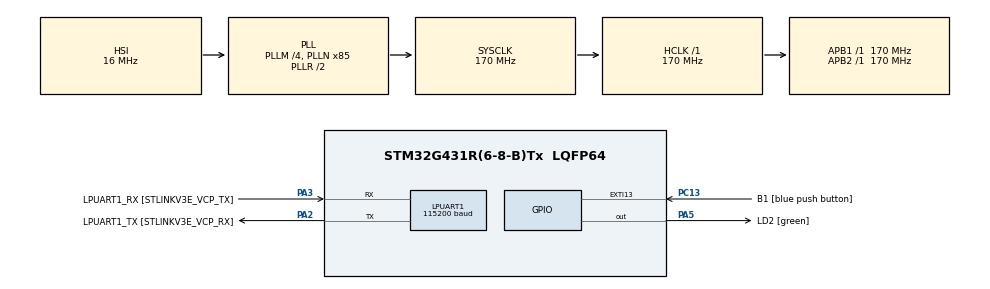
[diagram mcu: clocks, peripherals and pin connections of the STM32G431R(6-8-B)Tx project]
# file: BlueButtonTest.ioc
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FREERTOS.Mutexes01=ErrorMutex,Dynamic,NULL
FREERTOS.Queues01=myQueue01,3,uint16_t,0,Dynamic,NULL,NULL
FREERTOS.Tasks01=defaultTask,24,128,StartDefaultTask,Default,NULL,Dynamic,NULL,NULL;errorTask,8,128,StartTaskError,Default,NULL,Dynamic,NULL,NULL
FREERTOS.Timers01=BlueTimer,BlueCallback,osTimerPeriodic,Default,NULL,Dynamic,NULL
FREERTOS.configUSE_NEWLIB_REENTRANT=1
LPUART1.BaudRate=115200
LPUART1.WordLength=UART_WORDLENGTH_8B
Mcu.Family=STM32G4
Mcu.Name=STM32G431R(6-8-B)Tx
Mcu.Package=LQFP64
NVIC.EXTI15_10_IRQn=true\:5\:0\:false\:false\:true\:true\:true\:true
NVIC.PriorityGroup=NVIC_PRIORITYGROUP_4
NVIC.TIM6_DAC_IRQn=true\:15\:0\:false\:false\:true\:false\:false\:true
NVIC.TimeBase=TIM6_DAC_IRQn
NVIC.TimeBaseIP=TIM6
PA13.GPIO_Label=T_SWDIO
PA13.Mode=Serial_Wire
PA13.Signal=SYS_JTMS-SWDIO
PA14.GPIO_Label=T_SWCLK
PA14.Mode=Serial_Wire
PA14.Signal=SYS_JTCK-SWCLK
PA2.GPIO_Label=LPUART1_TX [STLINKV3E_VCP_RX]
PA2.Mode=Asynchronous
PA2.Signal=LPUART1_TX
PA3.GPIO_Label=LPUART1_RX [STLINKV3E_VCP_TX]
PA3.Mode=Asynchronous
PA3.Signal=LPUART1_RX
PA5.GPIO_Label=LD2 [green]
PA5.Signal=GPIO_Output
PB3.GPIO_Label=T_SWO
PB3.Signal=SYS_JTDO-SWO
PC13.GPIO_Label=B1 [blue push button]
PC13.GPIO_ModeDefaultEXTI=GPIO_MODE_IT_RISING_FALLING
PC13.Signal=GPXTI13
PC14-OSC32_IN.Mode=LSE-External-Oscillator
PC14-OSC32_IN.Signal=RCC_OSC32_IN
PC15-OSC32_OUT.Mode=LSE-External-Oscillator
PC15-OSC32_OUT.Signal=RCC_OSC32_OUT
PF0-OSC_IN.Mode=HSE-External-Oscillator
PF0-OSC_IN.Signal=RCC_OSC_IN
PF1-OSC_OUT.Mode=HSE-External-Oscillator
PF1-OSC_OUT.Signal=RCC_OSC_OUT
ProjectManager.HeapSize=0x200
ProjectManager.StackSize=0x400
ProjectManager.TargetToolchain=STM32CubeIDE
RCC.ADC12Freq_Value=170000000
RCC.AHBFreq_Value=170000000
RCC.APB1Freq_Value=170000000
RCC.APB1TimFreq_Value=170000000
RCC.APB2Freq_Value=170000000
RCC.APB2TimFreq_Value=170000000
RCC.CortexFreq_Value=170000000
RCC.EXTERNAL_CLOCK_VALUE=12288000
RCC.HCLKFreq_Value=170000000
RCC.HSE_VALUE=24000000
RCC.HSI48_VALUE=48000000
RCC.HSI_VALUE=16000000
RCC.PLLM=RCC_PLLM_DIV4
RCC.PLLN=85
RCC.RTCClockSelection=RCC_RTCCLKSOURCE_LSE
RCC.SYSCLKFreq_VALUE=170000000
RCC.SYSCLKSource=RCC_SYSCLKSOURCE_PLLCLK
RCC.USBFreq_Value=170000000
RCC.VCOOutputFreq_Value=340000000
VP_FREERTOS_VS_CMSIS_V2.Mode=CMSIS_V2
VP_SYS_VS_DBSignals.Mode=DisableDeadBatterySignals
VP_SYS_VS_tim6.Mode=TIM6
board=NUCLEO-G431RB

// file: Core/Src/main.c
/* USER CODE BEGIN Header */
/**
  ******************************************************************************
  * @file           : main.c
  * @brief          : Main program body
  ******************************************************************************
  * @attention
  *
  * <h2><center>&copy; Copyright (c) 2021 STMicroelectronics.
  * All rights reserved.</center></h2>
  *
  * This software component is licensed by ST under Ultimate Liberty license
  * SLA0044, the "License"; You may not use this file except in compliance with
  * the License. You may obtain a copy of the License at:
  *                             www.st.com/SLA0044
  *
  ******************************************************************************
  */
/* USER CODE END Header */
#include "main.h"
#include "cmsis_os.h"

/* USER CODE BEGIN Includes */
#include <string.h>
#include <stdio.h>
#include <stdlib.h>
/* USER CODE END Includes */

UART_HandleTypeDef hlpuart1;

/* Definitions for defaultTask */
osThreadId_t defaultTaskHandle;
const osThreadAttr_t defaultTask_attributes = {
  .name = "defaultTask",
  .priority = (osPriority_t) osPriorityNormal,
  .stack_size = 128 * 4
};
/* Definitions for errorTask */
osThreadId_t errorTaskHandle;
const osThreadAttr_t errorTask_attributes = {
  .name = "errorTask",
  .priority = (osPriority_t) osPriorityLow,
  .stack_size = 128 * 4
};
/* Definitions for myQueue01 */
osMessageQueueId_t myQueue01Handle;
const osMessageQueueAttr_t myQueue01_attributes = {
  .name = "myQueue01"
};
/* Definitions for BlueTimer */
osTimerId_t BlueTimerHandle;
const osTimerAttr_t BlueTimer_attributes = {
  .name = "BlueTimer"
};
/* Definitions for ErrorMutex */
osMutexId_t ErrorMutexHandle;
const osMutexAttr_t ErrorMutex_attributes = {
  .name = "ErrorMutex"
};

void SystemClock_Config(void);
static void MX_GPIO_Init(void);
static void MX_LPUART1_UART_Init(void);
void StartDefaultTask(void *argument);
void StartTaskError(void *argument);
void BlueCallback(void *argument);

/* USER CODE BEGIN 0 */
uint8_t blue_button_pressed = 0;
uint32_t blue_tick_pressed = 0;

const unsigned char OUT_BUFFER_COUNT = 3;
char main_out_buffer[3][512];

unsigned char out_write_index=0;

void move_out_next_write_index(){
	out_write_index++;
	if (out_write_index == OUT_BUFFER_COUNT){
		out_write_index = 0;
	}
}

uint8_t error_flag = 0;

void put_message_out_buffer(char *message){
	uint32_t ret = osMessageQueueGetSpace(myQueue01Handle);
	if (ret ==0){
		osMutexAcquire(ErrorMutexHandle, osWaitForever);
		error_flag = 1;
		osMutexRelease(ErrorMutexHandle);
		return;
	}

	char *p = main_out_buffer[out_write_index];
	int msg_len = strlen(message);
	memcpy(p, message, msg_len);
	char tmp[25];
	itoa(out_write_index, tmp, 10);
	int value_len = strlen(tmp);
	char *value_p = p + msg_len;
	memcpy(value_p, tmp, value_len);
	p[msg_len + value_len] = 0x00;
	uint8_t pos = out_write_index;
	osMessageQueuePut(myQueue01Handle, &pos, 0U, 0U);
	move_out_next_write_index();
}

void HAL_GPIO_EXTI_Callback(uint16_t GPIO_Pin) {
	if (GPIO_Pin == B1_Pin){
		//HAL_Delay(10); //delay 10 milli-second, clear finger is trembling.

		if (HAL_GPIO_ReadPin(B1_GPIO_Port, B1_Pin) == GPIO_PIN_SET){
			put_message_out_buffer("Blue Button.");
			__HAL_GPIO_EXTI_CLEAR_IT(B1_Pin);            //清除引脚中断
			blue_button_pressed = 1;
		}
		else if (HAL_GPIO_ReadPin(B1_GPIO_Port, B1_Pin) == GPIO_PIN_RESET){
			put_message_out_buffer("Blue Button Release.");
			blue_button_pressed = 0;
		}
	}
}

char main_ouput_buf[100];
void send_reply_string(char *message){
	memset(main_ouput_buf,0,sizeof(main_ouput_buf));
	strcpy(main_ouput_buf, message);
	uint16_t send_count = strlen(main_ouput_buf);
	HAL_UART_Transmit(&hlpuart1,(uint8_t*)main_ouput_buf,send_count,0xffff);
}
/* USER CODE END 0 */

int main(void)
{

  /* MCU Configuration--------------------------------------------------------*/

  /* Reset of all peripherals, Initializes the Flash interface and the Systick. */
  HAL_Init();

  /* Configure the system clock */
  SystemClock_Config();

  /* Initialize all configured peripherals */
  MX_GPIO_Init();
  MX_LPUART1_UART_Init();

  /* Init scheduler */
  osKernelInitialize();
  /* Create the mutex(es) */
  /* creation of ErrorMutex */
  ErrorMutexHandle = osMutexNew(&ErrorMutex_attributes);

  /* Create the timer(s) */
  /* creation of BlueTimer */
  BlueTimerHandle = osTimerNew(BlueCallback, osTimerPeriodic, NULL, &BlueTimer_attributes);

  /* USER CODE BEGIN RTOS_TIMERS */
  /* start timers, add new ones, ... */
  //uint32_t timerDelay = 100U;
  //osTimerStart(BlueTimerHandle, timerDelay);
  /* USER CODE END RTOS_TIMERS */

  /* Create the queue(s) */
  /* creation of myQueue01 */
  myQueue01Handle = osMessageQueueNew (3, sizeof(uint16_t), &myQueue01_attributes);

  /* Create the thread(s) */
  /* creation of defaultTask */
  defaultTaskHandle = osThreadNew(StartDefaultTask, NULL, &defaultTask_attributes);

  /* creation of errorTask */
  errorTaskHandle = osThreadNew(StartTaskError, NULL, &errorTask_attributes);

  /* Start scheduler */
  osKernelStart();

  /* We should never get here as control is now taken by the scheduler */
  /* Infinite loop */
  while (1)
  {

  }
}

void SystemClock_Config(void)
{
  RCC_OscInitTypeDef RCC_OscInitStruct = {0};
  RCC_ClkInitTypeDef RCC_ClkInitStruct = {0};
  RCC_PeriphCLKInitTypeDef PeriphClkInit = {0};

  /** Configure the main internal regulator output voltage
  */
  HAL_PWREx_ControlVoltageScaling(PWR_REGULATOR_VOLTAGE_SCALE1_BOOST);
  /** Initializes the RCC Oscillators according to the specified parameters
  * in the RCC_OscInitTypeDef structure.
  */
  RCC_OscInitStruct.OscillatorType = RCC_OSCILLATORTYPE_HSI;
  RCC_OscInitStruct.HSIState = RCC_HSI_ON;
  RCC_OscInitStruct.HSICalibrationValue = RCC_HSICALIBRATION_DEFAULT;
  RCC_OscInitStruct.PLL.PLLState = RCC_PLL_ON;
  RCC_OscInitStruct.PLL.PLLSource = RCC_PLLSOURCE_HSI;
  RCC_OscInitStruct.PLL.PLLM = RCC_PLLM_DIV4;
  RCC_OscInitStruct.PLL.PLLN = 85;
  RCC_OscInitStruct.PLL.PLLP = RCC_PLLP_DIV2;
  RCC_OscInitStruct.PLL.PLLQ = RCC_PLLQ_DIV2;
  RCC_OscInitStruct.PLL.PLLR = RCC_PLLR_DIV2;
  if (HAL_RCC_OscConfig(&RCC_OscInitStruct) != HAL_OK)
  {
    Error_Handler();
  }
  /** Initializes the CPU, AHB and APB buses clocks
  */
  RCC_ClkInitStruct.ClockType = RCC_CLOCKTYPE_HCLK|RCC_CLOCKTYPE_SYSCLK
                              |RCC_CLOCKTYPE_PCLK1|RCC_CLOCKTYPE_PCLK2;
  RCC_ClkInitStruct.SYSCLKSource = RCC_SYSCLKSOURCE_PLLCLK;
  RCC_ClkInitStruct.AHBCLKDivider = RCC_SYSCLK_DIV1;
  RCC_ClkInitStruct.APB1CLKDivider = RCC_HCLK_DIV1;
  RCC_ClkInitStruct.APB2CLKDivider = RCC_HCLK_DIV1;

  if (HAL_RCC_ClockConfig(&RCC_ClkInitStruct, FLASH_LATENCY_4) != HAL_OK)
  {
    Error_Handler();
  }
  /** Initializes the peripherals clocks
  */
  PeriphClkInit.PeriphClockSelection = RCC_PERIPHCLK_LPUART1;
  PeriphClkInit.Lpuart1ClockSelection = RCC_LPUART1CLKSOURCE_PCLK1;
  if (HAL_RCCEx_PeriphCLKConfig(&PeriphClkInit) != HAL_OK)
  {
    Error_Handler();
  }
}

static void MX_LPUART1_UART_Init(void)
{

  hlpuart1.Instance = LPUART1;
  hlpuart1.Init.BaudRate = 115200;
  hlpuart1.Init.WordLength = UART_WORDLENGTH_8B;
  hlpuart1.Init.StopBits = UART_STOPBITS_1;
  hlpuart1.Init.Parity = UART_PARITY_NONE;
  hlpuart1.Init.Mode = UART_MODE_TX_RX;
  hlpuart1.Init.HwFlowCtl = UART_HWCONTROL_NONE;
  hlpuart1.Init.OneBitSampling = UART_ONE_BIT_SAMPLE_DISABLE;
  hlpuart1.Init.ClockPrescaler = UART_PRESCALER_DIV1;
  hlpuart1.AdvancedInit.AdvFeatureInit = UART_ADVFEATURE_NO_INIT;
  if (HAL_UART_Init(&hlpuart1) != HAL_OK)
  {
    Error_Handler();
  }
  if (HAL_UARTEx_SetTxFifoThreshold(&hlpuart1, UART_TXFIFO_THRESHOLD_1_8) != HAL_OK)
  {
    Error_Handler();
  }
  if (HAL_UARTEx_SetRxFifoThreshold(&hlpuart1, UART_RXFIFO_THRESHOLD_1_8) != HAL_OK)
  {
    Error_Handler();
  }
  if (HAL_UARTEx_DisableFifoMode(&hlpuart1) != HAL_OK)
  {
    Error_Handler();
  }

}

static void MX_GPIO_Init(void)
{
  GPIO_InitTypeDef GPIO_InitStruct = {0};

  /* GPIO Ports Clock Enable */
  __HAL_RCC_GPIOC_CLK_ENABLE();
  __HAL_RCC_GPIOF_CLK_ENABLE();
  __HAL_RCC_GPIOA_CLK_ENABLE();
  __HAL_RCC_GPIOB_CLK_ENABLE();

  /*Configure GPIO pin Output Level */
  HAL_GPIO_WritePin(LD2_GPIO_Port, LD2_Pin, GPIO_PIN_RESET);

  /*Configure GPIO pin : B1_Pin */
  GPIO_InitStruct.Pin = B1_Pin;
  GPIO_InitStruct.Mode = GPIO_MODE_IT_RISING_FALLING;
  GPIO_InitStruct.Pull = GPIO_NOPULL;
  HAL_GPIO_Init(B1_GPIO_Port, &GPIO_InitStruct);

  /*Configure GPIO pin : LD2_Pin */
  GPIO_InitStruct.Pin = LD2_Pin;
  GPIO_InitStruct.Mode = GPIO_MODE_OUTPUT_PP;
  GPIO_InitStruct.Pull = GPIO_NOPULL;
  GPIO_InitStruct.Speed = GPIO_SPEED_FREQ_LOW;
  HAL_GPIO_Init(LD2_GPIO_Port, &GPIO_InitStruct);

  /* EXTI interrupt init*/
  HAL_NVIC_SetPriority(EXTI15_10_IRQn, 5, 0);
  HAL_NVIC_EnableIRQ(EXTI15_10_IRQn);

}

void StartDefaultTask(void *argument)
{
  /* USER CODE BEGIN 5 */
  /* Infinite loop */
  for(;;)
  {
	  uint8_t pos;
	  osStatus_t status = osMessageQueueGet(myQueue01Handle, &pos, NULL, 0U);
	  if (status == osOK) {
		  if (pos == -1){
			  continue;
		  }
		  else{
			  uint8_t read_index = pos;
			  char* out_data_ptr = main_out_buffer[read_index];
			  uint16_t send_count = strlen(out_data_ptr);
			  HAL_UART_Transmit(&hlpuart1,(uint8_t*)out_data_ptr,send_count,0xffff);
			  //osDelay(1000);
		  }
	  }
	  osDelay(1);
  }
  /* USER CODE END 5 */
}

void StartTaskError(void *argument)
{
  /* USER CODE BEGIN StartTaskError */
  /* Infinite loop */
  for(;;)
  {
	if (blue_button_pressed == 2){
		uint32_t tick;
		tick = osKernelGetSysTimerCount();
		uint32_t diff = tick - blue_tick_pressed;
		uint32_t freq = osKernelGetSysTimerFreq();
		uint32_t timeout_value = 3 * freq;
		if (diff > timeout_value){
			put_message_out_buffer("Blue Button timeout.");
			blue_button_pressed = 0;
		}
	}
	else if(blue_button_pressed == 1){
		uint32_t tick;
		tick = osKernelGetSysTimerCount();
		blue_tick_pressed = tick;
		blue_button_pressed = 2;
	}

	  osMutexAcquire(ErrorMutexHandle, osWaitForever);
	  if (error_flag == 1){
		  send_reply_string("no space");
		  error_flag = 0;
	  }
	  osMutexRelease(ErrorMutexHandle);
	  osDelay(1);
  }
  /* USER CODE END StartTaskError */
}

/* BlueCallback function */
void BlueCallback(void *argument)
{
  /* USER CODE BEGIN BlueCallback */
//	if (blue_button_pressed == 2){
//		uint32_t tick;
//		tick = osKernelGetSysTimerCount();
//		uint32_t diff = tick - blue_tick_pressed;
//		uint32_t freq = osKernelGetSysTimerFreq();
//		uint32_t timeout_value = 3 * freq;
//		if (diff > timeout_value){
//			put_message_out_buffer("Blue Button timeout.");
//			blue_button_pressed = 0;
//		}
//	}
//	else if(blue_button_pressed == 1){
//		uint32_t tick;
//		tick = osKernelGetSysTimerCount();
//		blue_tick_pressed = tick;
//		blue_button_pressed = 2;
//	}
  /* USER CODE END BlueCallback */
}

void HAL_TIM_PeriodElapsedCallback(TIM_HandleTypeDef *htim)
{
  if (htim->Instance == TIM6) {
    HAL_IncTick();
  }
}

void Error_Handler(void)
{
  __disable_irq();
  while (1)
  {
  }
}

/************************ (C) COPYRIGHT STMicroelectronics *****END OF FILE****/
